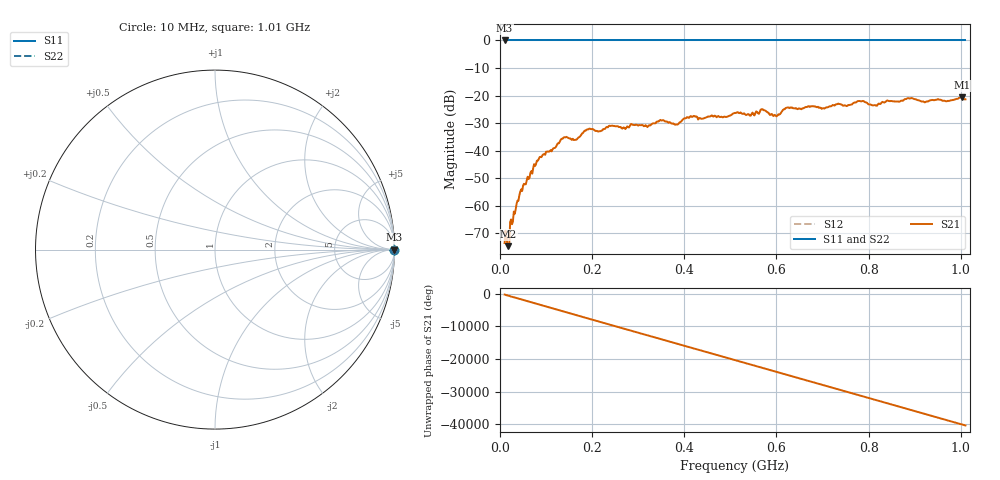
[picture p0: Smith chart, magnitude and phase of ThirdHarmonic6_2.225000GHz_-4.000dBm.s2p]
! 8/17/2025 2:29:16 AM
! C:\ANRITSUVNA\TEMP\TEMP.S2P
! CHANNEL.1
! TR.MEASUREMENT
! RAW.DATA
! RF.CORRECTION.OFF
! AVERAGING.OFF
! IF.BANDWIDTH: 5KHZ
! SWEEPTYPE:  FREQ.SWEEP(Linear)
! Reference Plane Port Info
! PORT:  PORT1  PORT2
! DISTANCE:  0  m  0  m
! TIME:  0  s  0  s
! PHASE.OFFSET:  0  deg.  0  deg.
! LOSS:  0  dB  0  dB
! REF.LOSS:  0  dB  0  dB
! REF.FREQ:  0  Hz  0  Hz
! Power Info
! POWER:  -20  dBm  -20  dBm
! EFF.POWER:  -20  dBm  -20  dBm
! SOURCE.ATTEN:  0  dB  0  dB
! TEST.ATTEN:  0  dB  0  dB
# GHZ S RI R 50.0
! FREQ.GHZ  S11RE  S11IM  S21RE  S21IM  S12RE  S12IM  S22RE  S22IM
!; PortSelection: Port_12
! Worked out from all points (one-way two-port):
!   501 points, 10 MHz to 1.01 GHz, reference 50 ohm
!   highest |S21| = -20.66 dB at 1.002 GHz (marker M1); lowest = -74.6 dB at 18 MHz (marker M2)
!   lowest |S11| = 0.0 dB at 10 MHz (marker M3)
!   |S11| at or under -10 dB: nowhere
!   |S22| runs from 0.0 to 0.0 dB; largest |S21 - S12| = 1.1
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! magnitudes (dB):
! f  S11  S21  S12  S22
! 10 MHz  0.0  -73.5  0.0  0.0
! 18 MHz  0.0  -74.6  0.0  0.0
! 26 MHz  0.0  -66.7  0.0  0.0
! 46 MHz  0.0  -54.0  0.0  0.0
! 84 MHz  0.0  -43.0  0.0  0.0
! 136 MHz  0.0  -35.6  0.0  0.0
! 164 MHz  0.0  -36.0  0.0  0.0
! 178 MHz  0.0  -33.8  0.0  0.0
! 192 MHz  0.0  -32.2  0.0  0.0
! 322 MHz  0.0  -31.0  0.0  0.0
! 344 MHz  0.0  -29.4  0.0  0.0
! 382 MHz  0.0  -30.5  0.0  0.0
! 416 MHz  0.0  -27.7  0.0  0.0
! 510 MHz  0.0  -26.3  0.0  0.0
! 570 MHz  0.0  -24.9  0.0  0.0
! 598 MHz  0.0  -27.2  0.0  0.0
! 622 MHz  0.0  -24.4  0.0  0.0
! 678 MHz  0.0  -23.8  0.0  0.0
! 814 MHz  0.0  -23.5  0.0  0.0
! 844 MHz  0.0  -22.0  0.0  0.0
! 1.002 GHz  0.0  -20.7  0.0  0.0
! 1.01 GHz  0.0  -21.4  0.0  0.0
